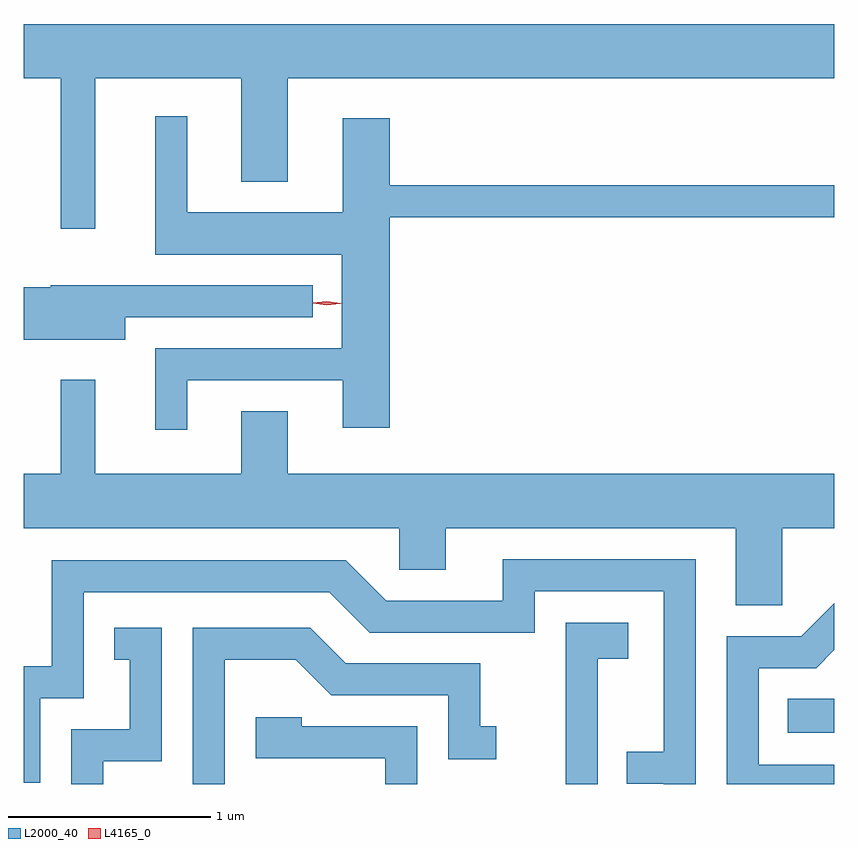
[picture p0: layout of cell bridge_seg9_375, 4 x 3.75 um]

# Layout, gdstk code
import gdstk
lib = gdstk.Library(unit=1e-6, precision=1e-09)
def R(c, l, rs):  # rectangles x0, y0, x1, y1
    for r in rs: c.add(gdstk.rectangle(r[:2], r[2:], *l))
def P(c, l, *ps):  # polygons
    for p in ps: c.add(gdstk.Polygon(p, *l))
L2000_40 = (2000, 40)
L4165_0 = (4165, 0)

bridge_seg9_375 = lib.new_cell('bridge_seg9_375')
R(bridge_seg9_375, L2000_40, [(1023.318,1946.406,1023.547,1946.574)])
P(bridge_seg9_375, L2000_40, [(1019.899,1949.636),(1020.621,1949.636),(1020.621,1949.126),(1020.849,1949.126),(1020.849,1949.636),(1023.547,1949.636),(1023.547,1949.904),(1019.547,1949.904),(1019.547,1949.636),(1019.731,1949.636),(1019.731,1948.893),(1019.899,1948.893)],
  [(1020.354,1948.146),(1021.121,1948.146),(1021.121,1947.911),(1021.354,1947.911),(1021.354,1948.951),(1023.547,1948.951),(1023.547,1949.109),(1021.354,1949.109),(1021.354,1949.439),(1021.121,1949.439),(1021.121,1948.974),(1020.354,1948.974),(1020.354,1949.448),(1020.196,1949.448),(1020.196,1948.766),(1021.116,1948.766),(1021.116,1948.304),(1020.196,1948.304),(1020.196,1947.903),(1020.354,1947.903)],
  [(1020.049,1948.456),(1020.973,1948.456),(1020.973,1948.614),(1019.68,1948.614),(1019.68,1948.604),(1019.547,1948.604),(1019.547,1948.346),(1020.049,1948.346)],
  [(1023.289,1947.416),(1023.547,1947.416),(1023.547,1947.684),(1020.849,1947.684),(1020.849,1947.994),(1020.621,1947.994),(1020.621,1947.684),(1019.899,1947.684),(1019.899,1948.148),(1019.731,1948.148),(1019.731,1947.684),(1019.547,1947.684),(1019.547,1947.416),(1021.401,1947.416),(1021.401,1947.211),(1021.629,1947.211),(1021.629,1947.416),(1023.061,1947.416),(1023.061,1947.036),(1023.289,1947.036)],
  [(1022.864,1947.264),(1021.911,1947.264),(1021.911,1947.059),(1021.337,1947.059),(1021.137,1947.259),(1019.686,1947.259),(1019.686,1946.734),(1019.547,1946.734),(1019.547,1946.161),(1019.629,1946.161),(1019.629,1946.576),(1019.844,1946.576),(1019.844,1947.101),(1021.054,1947.101),(1021.254,1946.901),(1022.069,1946.901),(1022.069,1947.106),(1022.706,1947.106),(1022.706,1946.314),(1022.523,1946.314),(1022.523,1946.156),(1022.706,1946.156),(1022.706,1946.154),(1022.864,1946.154)],
  [(1023.547,1946.249),(1023.174,1946.249),(1023.174,1946.726),(1023.457,1946.726),(1023.547,1946.816),(1023.547,1947.047),(1023.384,1946.884),(1023.016,1946.884),(1023.016,1946.154),(1023.547,1946.154)],
  [(1022.379,1946.771),(1022.529,1946.771),(1022.529,1946.949),(1022.221,1946.949),(1022.221,1946.154),(1022.379,1946.154)],
  [(1020.539,1946.766),(1020.889,1946.766),(1021.064,1946.591),(1021.641,1946.591),(1021.641,1946.276),(1021.878,1946.276),(1021.878,1946.439),(1021.799,1946.439),(1021.799,1946.749),(1021.137,1946.749),(1020.962,1946.924),(1020.381,1946.924),(1020.381,1946.154),(1020.539,1946.154)],
  [(1019.939,1946.266),(1020.229,1946.266),(1020.229,1946.924),(1019.993,1946.924),(1019.993,1946.766),(1020.071,1946.766),(1020.071,1946.424),(1019.781,1946.424),(1019.781,1946.154),(1019.939,1946.154)],
  [(1021.489,1946.439),(1020.919,1946.439),(1020.919,1946.484),(1020.691,1946.484),(1020.691,1946.281),(1021.331,1946.281),(1021.331,1946.154),(1021.489,1946.154)])
P(bridge_seg9_375, L4165_0, [(1021.043,1948.517),(1020.974,1948.526),(1020.973,1948.527),(1020.974,1948.528),(1021.043,1948.537),(1021.112,1948.527),(1021.113,1948.526),(1021.112,1948.526)],
  [(1021.043,1948.516),(1020.977,1948.526),(1020.977,1948.527),(1020.977,1948.528),(1021.043,1948.536),(1021.109,1948.525),(1021.109,1948.524),(1021.109,1948.524)])

lib.write_gds('bridge_seg9_375.gds')
